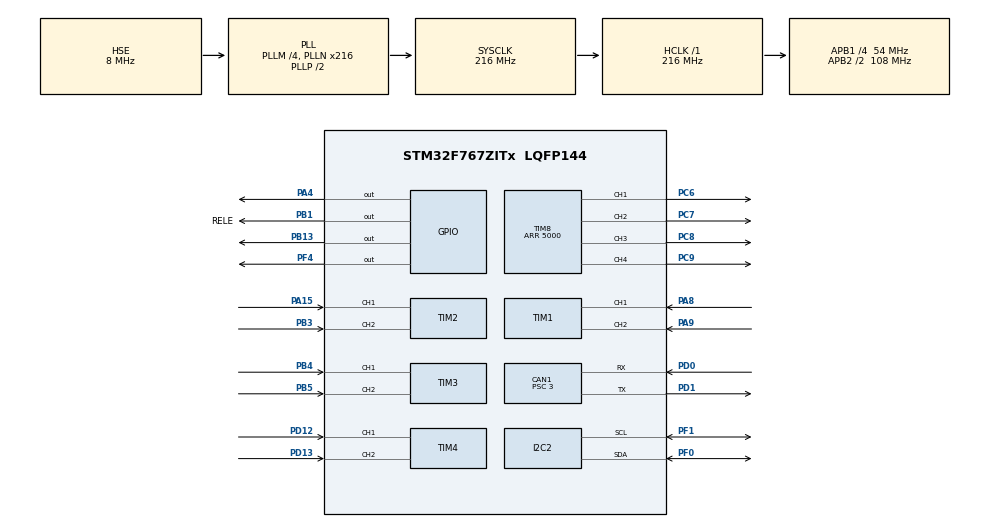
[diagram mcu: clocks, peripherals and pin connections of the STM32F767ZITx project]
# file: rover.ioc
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CAN1.AWUM=ENABLE
CAN1.BS1=CAN_BS1_15TQ
CAN1.BS2=CAN_BS2_2TQ
CAN1.CalculateBaudRate=1000000
CAN1.CalculateTimeBit=1000
CAN1.CalculateTimeQuantum=55.55555555555556
CAN1.NART=ENABLE
CAN1.Prescaler=3
FREERTOS.Tasks01=canTxTask,55,256,canTxTaskStep,Default,NULL,Static,canTxTaskBuffer,canTxTaskControlBlock;motorsTask,54,256,motorsTaskStep,Default,NULL,Static,motorsTaskBuffer,motorsTaskControlBlock;imuTask,53,256,imuTaskStep,Default,NULL,Static,imuTaskBuffer,imuTaskControlBlock
FREERTOS.configENABLE_FPU=1
FREERTOS.configUSE_NEWLIB_REENTRANT=1
I2C2.Timing=0x20404768
Mcu.Family=STM32F7
Mcu.Name=STM32F767ZITx
Mcu.Package=LQFP144
NVIC.CAN1_RX0_IRQn=true\:5\:0\:false\:false\:true\:true\:true\:true\:true
NVIC.PriorityGroup=NVIC_PRIORITYGROUP_4
NVIC.TIM8_BRK_TIM12_IRQn=true\:15\:0\:false\:false\:true\:false\:false\:true\:true
NVIC.TimeBase=TIM8_BRK_TIM12_IRQn
NVIC.TimeBaseIP=TIM12
PA15.Signal=S_TIM2_CH1_ETR
PA4.Signal=GPIO_Output
PA8.Signal=S_TIM1_CH1
PA9.Signal=S_TIM1_CH2
PB1.GPIO_Label=RELE
PB1.Signal=GPIO_Output
PB13.Signal=GPIO_Output
PB3.Signal=S_TIM2_CH2
PB4.Signal=S_TIM3_CH1
PB5.Signal=S_TIM3_CH2
PC6.Signal=S_TIM8_CH1
PC7.Signal=S_TIM8_CH2
PC8.Signal=S_TIM8_CH3
PC9.Signal=S_TIM8_CH4
PD0.Mode=CAN_Activate
PD0.Signal=CAN1_RX
PD1.Mode=CAN_Activate
PD1.Signal=CAN1_TX
PD12.Signal=S_TIM4_CH1
PD13.Signal=S_TIM4_CH2
PF0.Mode=I2C
PF0.Signal=I2C2_SDA
PF1.Mode=I2C
PF1.Signal=I2C2_SCL
PF4.Signal=GPIO_Output
PH0/OSC_IN.Mode=HSE-External-Oscillator
PH0/OSC_IN.Signal=RCC_OSC_IN
PH1/OSC_OUT.Mode=HSE-External-Oscillator
PH1/OSC_OUT.Signal=RCC_OSC_OUT
ProjectManager.HeapSize=0x200
ProjectManager.StackSize=0x400
ProjectManager.TargetToolchain=STM32CubeIDE
RCC.48MHZClocksFreq_Value=24000000
RCC.AHBFreq_Value=216000000
RCC.APB1CLKDivider=RCC_HCLK_DIV4
RCC.APB1Freq_Value=54000000
RCC.APB1TimFreq_Value=108000000
RCC.APB2CLKDivider=RCC_HCLK_DIV2
RCC.APB2Freq_Value=108000000
RCC.APB2TimFreq_Value=216000000
RCC.CodegenConfigPeriph=true
RCC.CortexFreq_Value=216000000
RCC.DATA_CACHE_ENABLE=1
RCC.EnbaleCSS=true
RCC.HCLKFreq_Value=216000000
RCC.HSE_VALUE=8000000
RCC.HSI_VALUE=16000000
RCC.INSTRUCTION_CACHE_ENABLE=1
RCC.LSE_Drive_CapabilityArg=+LSE_Drive_Capability
RCC.LSE_VALUE=32768
RCC.PLLM=4
RCC.PLLMUL=RCC_PLL_MUL9
RCC.PLLN=216
RCC.PLLQ=4
RCC.PLLSourceVirtual=RCC_PLLSOURCE_HSE
RCC.PREFETCH_ENABLE=1
RCC.PRESCALERUSB=RCC_USBCLKSOURCE_PLL_DIV1_5
RCC.SYSCLKFreq_VALUE=216000000
RCC.SYSCLKSource=RCC_SYSCLKSOURCE_PLLCLK
RCC.SYSCLKSourceVirtual=RCC_SYSCLKSOURCE_PLLCLK
RCC.USBFreq_Value=108000000
RCC.VCOOutputFreq_Value=432000000
SH.S_TIM1_CH1.0=TIM1_CH1,Encoder_Interface
SH.S_TIM1_CH2.0=TIM1_CH2,Encoder_Interface
SH.S_TIM2_CH1_ETR.0=TIM2_CH1,Encoder_Interface
SH.S_TIM2_CH2.0=TIM2_CH2,Encoder_Interface
SH.S_TIM3_CH1.0=TIM3_CH1,Encoder_Interface
SH.S_TIM3_CH2.0=TIM3_CH2,Encoder_Interface
SH.S_TIM4_CH1.0=TIM4_CH1,Encoder_Interface
SH.S_TIM4_CH2.0=TIM4_CH2,Encoder_Interface
SH.S_TIM8_CH1.0=TIM8_CH1,PWM Generation1 CH1
SH.S_TIM8_CH2.0=TIM8_CH2,PWM Generation2 CH2
SH.S_TIM8_CH3.0=TIM8_CH3,PWM Generation3 CH3
SH.S_TIM8_CH4.0=TIM8_CH4,PWM Generation4 CH4
TIM1.EncoderMode=TIM_ENCODERMODE_TI12
TIM2.EncoderMode=TIM_ENCODERMODE_TI12
TIM3.EncoderMode=TIM_ENCODERMODE_TI12
TIM4.EncoderMode=TIM_ENCODERMODE_TI12
TIM8.Channel-PWM\ Generation1\ CH1=TIM_CHANNEL_1
TIM8.Channel-PWM\ Generation2\ CH2=TIM_CHANNEL_2
TIM8.Channel-PWM\ Generation3\ CH3=TIM_CHANNEL_3
TIM8.Channel-PWM\ Generation4\ CH4=TIM_CHANNEL_4
TIM8.Period=5000
VP_FREERTOS_VS_CMSIS_V2.Mode=CMSIS_V2
VP_SYS_VS_tim12.Mode=TIM12
board=NUCLEO-F767ZI

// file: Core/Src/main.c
/* USER CODE BEGIN Header */
/**
  ******************************************************************************
  * @file           : main.c
  * @brief          : Main program body
  ******************************************************************************
  * @attention
  *
  * Copyright (c) 2025 STMicroelectronics.
  * All rights reserved.
  *
  * This software is licensed under terms that can be found in the LICENSE file
  * in the root directory of this software component.
  * If no LICENSE file comes with this software, it is provided AS-IS.
  *
  ******************************************************************************
  */
/* USER CODE END Header */
#include "main.h"
#include "cmsis_os.h"
#include "can.h"
#include "i2c.h"
#include "tim.h"
#include "gpio.h"

/* USER CODE BEGIN Includes */
#include "rover_firmware.h"
/* USER CODE END Includes */

void SystemClock_Config(void);
void MX_FREERTOS_Init(void);

int main(void)
{

  /* MCU Configuration--------------------------------------------------------*/

  /* Reset of all peripherals, Initializes the Flash interface and the Systick. */
  HAL_Init();

  /* Configure the system clock */
  SystemClock_Config();

  /* Initialize all configured peripherals */
  MX_GPIO_Init();
  MX_TIM2_Init();
  MX_TIM3_Init();
  MX_TIM4_Init();
  MX_TIM8_Init();
  MX_CAN1_Init();
  MX_I2C2_Init();
  MX_TIM1_Init();

  /* Init scheduler */
  osKernelInitialize();  /* Call init function for freertos objects (in cmsis_os2.c) */
  MX_FREERTOS_Init();

  /* Start scheduler */
  osKernelStart();

  /* We should never get here as control is now taken by the scheduler */

  /* Infinite loop */
  while (1)
  {

  }
}

void SystemClock_Config(void)
{
  RCC_OscInitTypeDef RCC_OscInitStruct = {0};
  RCC_ClkInitTypeDef RCC_ClkInitStruct = {0};

  /** Configure the main internal regulator output voltage
  */
  __HAL_RCC_PWR_CLK_ENABLE();
  __HAL_PWR_VOLTAGESCALING_CONFIG(PWR_REGULATOR_VOLTAGE_SCALE1);

  /** Initializes the RCC Oscillators according to the specified parameters
  * in the RCC_OscInitTypeDef structure.
  */
  RCC_OscInitStruct.OscillatorType = RCC_OSCILLATORTYPE_HSE;
  RCC_OscInitStruct.HSEState = RCC_HSE_ON;
  RCC_OscInitStruct.PLL.PLLState = RCC_PLL_ON;
  RCC_OscInitStruct.PLL.PLLSource = RCC_PLLSOURCE_HSE;
  RCC_OscInitStruct.PLL.PLLM = 4;
  RCC_OscInitStruct.PLL.PLLN = 216;
  RCC_OscInitStruct.PLL.PLLP = RCC_PLLP_DIV2;
  RCC_OscInitStruct.PLL.PLLQ = 4;
  RCC_OscInitStruct.PLL.PLLR = 2;
  if (HAL_RCC_OscConfig(&RCC_OscInitStruct) != HAL_OK)
  {
    Error_Handler();
  }

  /** Activate the Over-Drive mode
  */
  if (HAL_PWREx_EnableOverDrive() != HAL_OK)
  {
    Error_Handler();
  }

  /** Initializes the CPU, AHB and APB buses clocks
  */
  RCC_ClkInitStruct.ClockType = RCC_CLOCKTYPE_HCLK|RCC_CLOCKTYPE_SYSCLK
                              |RCC_CLOCKTYPE_PCLK1|RCC_CLOCKTYPE_PCLK2;
  RCC_ClkInitStruct.SYSCLKSource = RCC_SYSCLKSOURCE_PLLCLK;
  RCC_ClkInitStruct.AHBCLKDivider = RCC_SYSCLK_DIV1;
  RCC_ClkInitStruct.APB1CLKDivider = RCC_HCLK_DIV4;
  RCC_ClkInitStruct.APB2CLKDivider = RCC_HCLK_DIV2;

  if (HAL_RCC_ClockConfig(&RCC_ClkInitStruct, FLASH_LATENCY_7) != HAL_OK)
  {
    Error_Handler();
  }

  /** Enables the Clock Security System
  */
  HAL_RCC_EnableCSS();
}

void HAL_TIM_PeriodElapsedCallback(TIM_HandleTypeDef *htim)
{
  if (htim->Instance == TIM12)
  {
    HAL_IncTick();
  }
}

void Error_Handler(void)
{
  /* USER CODE BEGIN Error_Handler_Debug */
  /* User can add his own implementation to report the HAL error return state */
  __disable_irq();
  stop_all_motors();
  while (1)
  {
  }
  /* USER CODE END Error_Handler_Debug */
}

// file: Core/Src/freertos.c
/* USER CODE BEGIN Header */
/**
  ******************************************************************************
  * File Name          : freertos.c
  * Description        : Code for freertos applications
  ******************************************************************************
  * @attention
  *
  * Copyright (c) 2025 STMicroelectronics.
  * All rights reserved.
  *
  * This software is licensed under terms that can be found in the LICENSE file
  * in the root directory of this software component.
  * If no LICENSE file comes with this software, it is provided AS-IS.
  *
  ******************************************************************************
  */
/* USER CODE END Header */

#include "FreeRTOS.h"
#include "task.h"
#include "main.h"
#include "cmsis_os.h"

/* USER CODE BEGIN Includes */
#include "encoder.h"
#include <stdio.h>
#include <string.h>
#include <stdbool.h>
#include "rover_firmware.h"
#include "can_messages.h"
#include "canParser.h"
/* USER CODE END Includes */

typedef StaticTask_t osStaticThreadDef_t;

/* Definitions for canTxTask */
osThreadId_t canTxTaskHandle;
uint32_t canTxTaskBuffer[ 256 ];
osStaticThreadDef_t canTxTaskControlBlock;
const osThreadAttr_t canTxTask_attributes = {
  .name = "canTxTask",
  .cb_mem = &canTxTaskControlBlock,
  .cb_size = sizeof(canTxTaskControlBlock),
  .stack_mem = &canTxTaskBuffer[0],
  .stack_size = sizeof(canTxTaskBuffer),
  .priority = (osPriority_t) osPriorityRealtime7,
};
/* Definitions for motorsTask */
osThreadId_t motorsTaskHandle;
uint32_t motorsTaskBuffer[ 256 ];
osStaticThreadDef_t motorsTaskControlBlock;
const osThreadAttr_t motorsTask_attributes = {
  .name = "motorsTask",
  .cb_mem = &motorsTaskControlBlock,
  .cb_size = sizeof(motorsTaskControlBlock),
  .stack_mem = &motorsTaskBuffer[0],
  .stack_size = sizeof(motorsTaskBuffer),
  .priority = (osPriority_t) osPriorityRealtime6,
};
/* Definitions for imuTask */
osThreadId_t imuTaskHandle;
uint32_t imuTaskBuffer[ 256 ];
osStaticThreadDef_t imuTaskControlBlock;
const osThreadAttr_t imuTask_attributes = {
  .name = "imuTask",
  .cb_mem = &imuTaskControlBlock,
  .cb_size = sizeof(imuTaskControlBlock),
  .stack_mem = &imuTaskBuffer[0],
  .stack_size = sizeof(imuTaskBuffer),
  .priority = (osPriority_t) osPriorityRealtime5,
};

/* USER CODE BEGIN FunctionPrototypes */
void HAL_CAN_RxFifo0MsgPendingCallback(CAN_HandleTypeDef *hcan) {

	HAL_GPIO_WritePin(GPIOF, GPIO_PIN_4, GPIO_PIN_SET);

	rover_t* const rover = rover_get_instance();

	HAL_CAN_GetRxMessage(hcan, rover->can_config.rx_fifo, &rover->can_manager.config->rx_header, rover->can_manager.rx_data);

	if (rover->can_manager.config->rx_header.StdId == CAN_MESSAGES_REFERENCE_MSG_ID && rover->can_manager.config->rx_header.DLC == CAN_MESSAGES_REFERENCE_DLC_BYTES) {
		can_messages_reference_t ref;
		if (can_msg_unpack_reference_frame(rover->can_manager.rx_data, &ref) == CAN_MESSAGES_OK) {

			rover->reference_fl_rpm = saturate_rpm(ref.front_left_rpm);
			rover->reference_rl_rpm = saturate_rpm(ref.rear_left_rpm);
			rover->reference_fr_rpm = saturate_rpm(ref.front_right_rpm);
			rover->reference_rr_rpm = saturate_rpm(ref.rear_right_rpm);

			rover->can_manager.message_received = CAN_MANAGER_RECEIVED_NEW_MESSAGE;
		}
	}

	HAL_GPIO_WritePin(GPIOF, GPIO_PIN_4, GPIO_PIN_RESET);
}

/* USER CODE END FunctionPrototypes */

void canTxTaskStep(void *argument);
void motorsTaskStep(void *argument);
void imuTaskStep(void *argument);

void MX_FREERTOS_Init(void); /* (MISRA C 2004 rule 8.1) */

void MX_FREERTOS_Init(void) {
  /* USER CODE BEGIN Init */
	if(rover_init() != ROVER_OK ){
		Error_Handler();
	}
  /* USER CODE END Init */

  /* Create the thread(s) */
  /* creation of canTxTask */
  canTxTaskHandle = osThreadNew(canTxTaskStep, NULL, &canTxTask_attributes);

  /* creation of motorsTask */
  motorsTaskHandle = osThreadNew(motorsTaskStep, NULL, &motorsTask_attributes);

  /* creation of imuTask */
  imuTaskHandle = osThreadNew(imuTaskStep, NULL, &imuTask_attributes);

}

void canTxTaskStep(void *argument)
{
  /* USER CODE BEGIN canTxTaskStep */
	TickType_t xLastWakeTime;
	const TickType_t xFrequency = pdMS_TO_TICKS(CAN_TX_PERIOD_MS);
	xLastWakeTime = xTaskGetTickCount();
	for (;;) {
		vTaskDelayUntil(&xLastWakeTime, xFrequency);
		HAL_GPIO_WritePin(GPIOB, GPIO_PIN_13, GPIO_PIN_SET);
		if (rover_can_tx_step() != ROVER_OK) {
			Error_Handler();
		}
		HAL_GPIO_WritePin(GPIOB, GPIO_PIN_13, GPIO_PIN_RESET);
	}
  /* USER CODE END canTxTaskStep */
}

void motorsTaskStep(void *argument)
{
  /* USER CODE BEGIN motorsTaskStep */
	TickType_t xLastWakeTime;
	const TickType_t xFrequency = pdMS_TO_TICKS(ENCODER_SAMPLING_TIME * 1000);
	xLastWakeTime = xTaskGetTickCount();
	/* Infinite loop */
	for(;;)
	{
		vTaskDelayUntil( &xLastWakeTime, xFrequency );
		//HAL_GPIO_WritePin(GPIOF, GPIO_PIN_4, GPIO_PIN_SET);
		if( rover_enc_can_tx_step()!= ROVER_OK){
			Error_Handler();
		}

		//HAL_GPIO_WritePin(GPIOF, GPIO_PIN_4, GPIO_PIN_RESET);
	}
  /* USER CODE END motorsTaskStep */
}

void imuTaskStep(void *argument)
{
  /* USER CODE BEGIN imuTaskStep */
	TickType_t xLastWakeTime;
	const TickType_t xFrequency = pdMS_TO_TICKS(IMU_TASK_PERIOD_MS);
	xLastWakeTime = xTaskGetTickCount();
	for (;;){
		vTaskDelayUntil(&xLastWakeTime, xFrequency);
		HAL_GPIO_WritePin(GPIOA, GPIO_PIN_4, GPIO_PIN_SET);
		if (rover_imu_read_step() != ROVER_OK) {
			Error_Handler();
		}
		if (rover_imu_can_tx_step()!= ROVER_OK) {
			Error_Handler();
		}
		HAL_GPIO_WritePin(GPIOA, GPIO_PIN_4, GPIO_PIN_RESET);
	}
  /* USER CODE END imuTaskStep */
}
